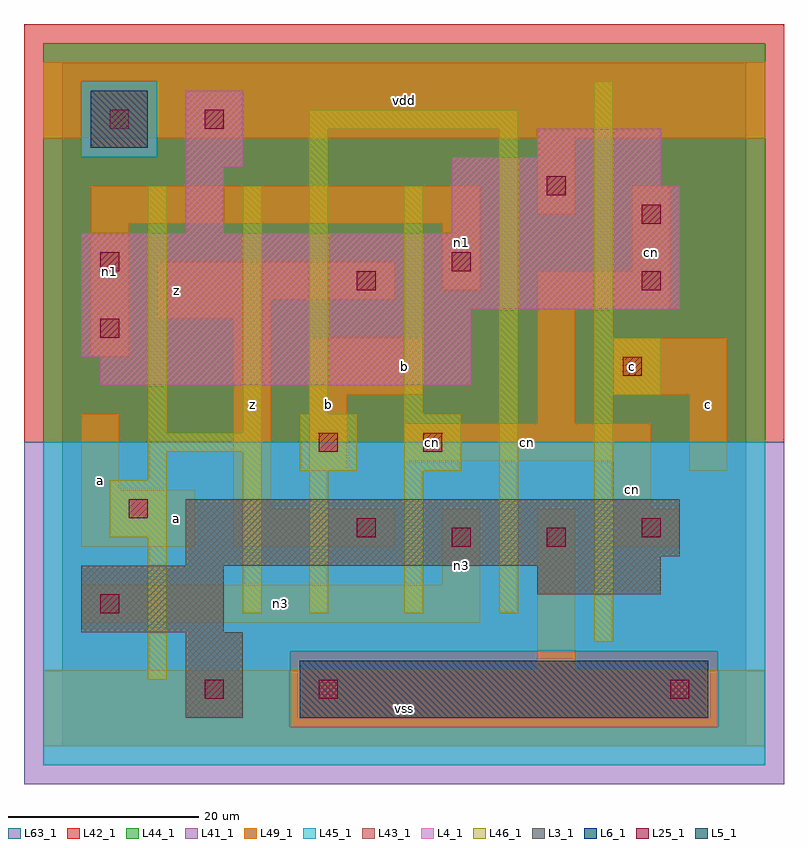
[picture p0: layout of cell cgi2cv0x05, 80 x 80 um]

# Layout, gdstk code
import gdstk
lib = gdstk.Library(unit=1e-6, precision=1e-09)
def R(c, l, rs):  # rectangles x0, y0, x1, y1
    for r in rs: c.add(gdstk.rectangle(r[:2], r[2:], *l))
L3_1 = (3, 1)
L4_1 = (4, 1)
L5_1 = (5, 1)
L6_1 = (6, 1)
L25_1 = (25, 1)
L41_1 = (41, 1)
L42_1 = (42, 1)
L43_1 = (43, 1)
L44_1 = (44, 1)
L45_1 = (45, 1)
L46_1 = (46, 1)
L49_1 = (49, 1)
L63_1 = (63, 1)

cgi2cv0x05 = lib.new_cell('cgi2cv0x05')
R(cgi2cv0x05, L3_1, [(13,3,19,12), (2,12,17,19), (50,16,63,19), (13,19,63,20), (13,20,65,26)])
R(cgi2cv0x05, L4_1, [(4,38,43,41), (2,41,43,46), (2,46,65,54), (13,54,17,61), (41,54,65,59), (41,59,63,62), (13,61,19,69), (50,62,63,65)])
R(cgi2cv0x05, L5_1, [(3,63,9,69)])
R(cgi2cv0x05, L6_1, [(25,3,68,9), (25,3,68,9)])
R(cgi2cv0x05, L25_1, [(15,5,17,7), (27,5,29,7), (64,5,66,7), (4,14,6,16), (41,21,43,23), (51,21,53,23), (31,22,33,24), (61,22,63,24), (7,24,9,26), (27,31,29,33), (38,31,40,33), (59,39,61,41), (4,43,6,45), (31,48,33,50), (61,48,63,50), (4,50,6,52), (41,50,43,52), (61,55,63,57), (51,58,53,60), (5,65,7,67), (15,65,17,67)])
R(cgi2cv0x05, L41_1, [(-4,-4,76,32)])
R(cgi2cv0x05, L42_1, [(-4,32,76,76)])
R(cgi2cv0x05, L43_1, [(13,3,19,12), (25,3,68,9), (2,12,17,19), (50,16,63,19), (13,19,63,20), (13,20,65,26), (4,38,43,41), (2,41,43,46), (2,46,65,54), (13,54,17,61), (41,54,65,59), (41,59,63,62), (13,61,19,69), (50,62,63,65), (3,63,9,69)])
R(cgi2cv0x05, L44_1, [(24,2,69,10), (-2,32,74,62), (-2,62,2,70), (10,62,74,70), (-2,70,74,74)])
R(cgi2cv0x05, L45_1, [(-2,-2,74,2), (-2,2,24,10), (69,2,74,10), (-2,10,74,32), (2,62,10,70)])
R(cgi2cv0x05, L46_1, [(9,7,11,22), (56,11,58,37), (19,14,21,31), (26,14,28,29), (36,14,38,29), (46,14,48,65), (5,22,11,28), (9,28,11,31), (25,29,31,35), (36,29,42,35), (9,31,21,33), (9,33,11,59), (19,33,21,59), (26,35,28,65), (36,35,38,59), (56,37,63,43), (56,43,58,70), (26,65,48,67)])
R(cgi2cv0x05, L49_1, [(-2,0,74,8), (50,8,54,25), (2,13,44,17), (40,17,44,25), (2,21,14,27), (18,21,35,25), (58,21,65,25), (18,25,22,45), (58,25,62,30), (2,27,6,35), (26,29,30,37), (66,29,70,37), (36,30,62,34), (50,34,54,46), (26,37,38,43), (58,37,70,43), (3,41,7,55), (10,45,22,47), (50,46,64,50), (10,47,35,51), (40,48,44,55), (60,50,64,59), (3,55,44,59), (50,56,54,64), (-2,64,74,72)])
R(cgi2cv0x05, L63_1, [(0,0,72,72)])
cgi2cv0x05.add(gdstk.Label('cn', (39,32), layer=49, texttype=1))
cgi2cv0x05.add(gdstk.Label('a', (4,28), layer=49, texttype=1))
cgi2cv0x05.add(gdstk.Label('a', (12,24), layer=49, texttype=1))
cgi2cv0x05.add(gdstk.Label('z', (12,48), layer=49, texttype=1))
cgi2cv0x05.add(gdstk.Label('n1', (5,50), layer=49, texttype=1))
cgi2cv0x05.add(gdstk.Label('b', (28,36), layer=49, texttype=1))
cgi2cv0x05.add(gdstk.Label('z', (20,36), layer=49, texttype=1))
cgi2cv0x05.add(gdstk.Label('vss', (36,4), layer=49, texttype=1))
cgi2cv0x05.add(gdstk.Label('n3', (23,15), layer=49, texttype=1))
cgi2cv0x05.add(gdstk.Label('n3', (42,19), layer=49, texttype=1))
cgi2cv0x05.add(gdstk.Label('b', (36,40), layer=49, texttype=1))
cgi2cv0x05.add(gdstk.Label('n1', (42,53), layer=49, texttype=1))
cgi2cv0x05.add(gdstk.Label('vdd', (36,68), layer=49, texttype=1))
cgi2cv0x05.add(gdstk.Label('cn', (49,32), layer=49, texttype=1))
cgi2cv0x05.add(gdstk.Label('cn', (60,27), layer=49, texttype=1))
cgi2cv0x05.add(gdstk.Label('c', (68,36), layer=49, texttype=1))
cgi2cv0x05.add(gdstk.Label('c', (60,40), layer=49, texttype=1))
cgi2cv0x05.add(gdstk.Label('cn', (62,52), layer=49, texttype=1))

lib.write_gds('cgi2cv0x05.gds')
